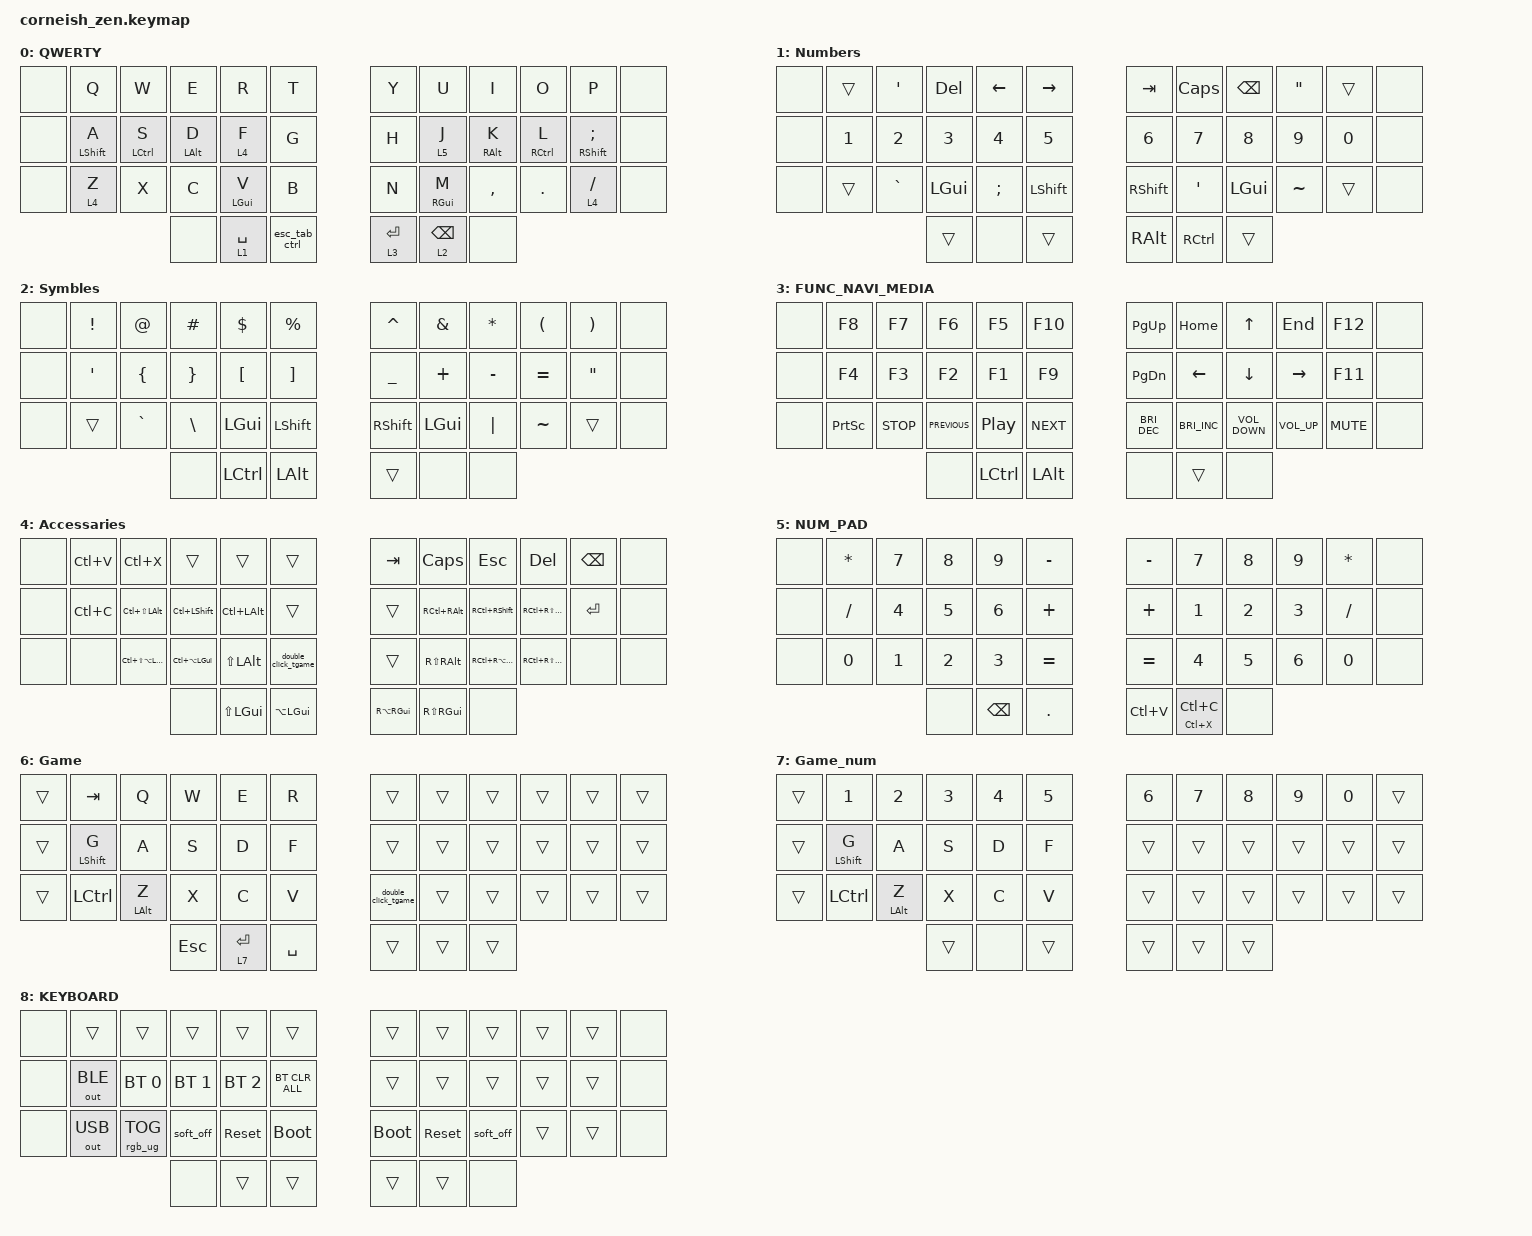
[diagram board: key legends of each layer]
/*
*
* Copyright (c) 2021 Darryl deHaan
* SPDX-License-Identifier: MIT
*
*/

#include <behaviors.dtsi>
#include <dt-bindings/zmk/bt.h>
#include <dt-bindings/zmk/keys.h>
#include <dt-bindings/zmk/outputs.h>
#include <dt-bindings/zmk/rgb.h>

&mt {
    tapping-term-ms = <250>;
    quick-tap-ms = <200>;
    flavor = "tap-preferred";
};

&lt {
    tapping-term-ms = <250>;
    quick-tap-ms = <175>;
};

/ {
    chosen {
        zmk,matrix_transform = &default_transform;

        // zmk,matrix_transform = &five_column_transform;
    };

    behaviors {
        ht: hold_tap {
            label = "hold_tap";
            compatible = "zmk,behavior-hold-tap";
            #binding-cells = <2>;
            flavor = "tap-preferred";
            tapping-term-ms = <220>;
            quick-tap-ms = <200>;
            global-quick-tap;
            bindings = <&kp>, <&kp>;
        };

        esc_tab_ctrl: esc_tab_ctrl {
            compatible = "zmk,behavior-tap-dance";
            label = "ESC_TAB_CTRL";
            #binding-cells = <0>;
            bindings = <&ht LCTRL ESCAPE>, <&kp TAB>;

            tapping-term-ms = <250>;
        };

        double_click_tgame: double_click_tgame {
            compatible = "zmk,behavior-tap-dance";
            label = "DOUBLE_CLICK_TGAME";
            #binding-cells = <0>;
            bindings = <&trans>, <&tog 6>;

            tapping-term-ms = <250>;
        };

        mmv {
            acceleration-exponent = <1>;      // 1
            time-to-max-speed-ms = <300>;    // 40
            delay-ms = <0>;                   // 0
        };

        msc {
            acceleration-exponent = <0>;      // 0
            time-to-max-speed-ms = <40>;      // 500
            delay-ms = <0>;                   // 10
        };
    };
};

/ {
    combos {
        compatible = "zmk,combos";

        MO5_right {
            bindings = <&mo 8>;
            key-positions = <40 39>;
        };

        MO5_left {
            bindings = <&mo 8>;
            key-positions = <37 38>;
        };
    };

    keymap {
        compatible = "zmk,keymap";

        base {
            display-name = "QWERTY";

            // --------------------------------------------------------------------------------
            // |  TAB |  Q  |  W  |  E  |  R  |  T  |   |  Y  |  U   |  I  |  O  |  P  | BKSP |
            // | CTRL |  A  |  S  |  D  |  F  |  G  |   |  H  |  J   |  K  |  L  |  ;  |  '   |
            // | SHFT |  Z  |  X  |  C  |  V  |  B  |   |  N  |  M   |  ,  |  .  |  /  | ESC  |
            //                    | GUI | LWR | SPC |   | ENT | RSE  | ALT |

            bindings = <
&none  &kp Q             &kp W        &kp E           &kp R           &kp T            &kp Y        &kp U            &kp I            &kp O        &kp P                      &none
&none  &ht LEFT_SHIFT A  &ht LCTRL S  &ht LEFT_ALT D  &lt 4 F         &kp G            &kp H        &lt 5 J          &ht RIGHT_ALT K  &ht RCTRL L  &ht RIGHT_SHIFT SEMICOLON  &none
&none  &lt 4 Z           &kp X        &kp C           &ht LEFT_GUI V  &kp B            &kp N        &ht RIGHT_GUI M  &kp COMMA        &kp DOT      &lt 4 SLASH                &none
                                      &none           &lt 1 SPACE     &esc_tab_ctrl    &lt 3 ENTER  &lt 2 BACKSPACE  &none
            >;
        };

        Numbers {
            bindings = <
&none  &trans  &kp SINGLE_QUOTE  &kp DELETE  &kp LEFT_ARROW  &kp RIGHT_ARROW    &kp TAB    &kp CAPS   &kp BSPC  &kp DOUBLE_QUOTES  &trans  &none
&none  &kp N1  &kp N2            &kp N3      &kp N4          &kp N5             &kp N6     &kp N7     &kp N8    &kp N9             &kp N0  &none
&none  &trans  &kp GRAVE         &kp LGUI    &kp SEMI        &kp LSHFT          &kp RSHFT  &kp APOS   &kp LGUI  &kp TILDE          &trans  &none
                                 &trans      &none           &trans             &kp RALT   &kp RCTRL  &trans
            >;
        };

        SYMB {
            display-name = "Symbles";

            // -----------------------------------------------------------------------------------------
            // |  TAB |  1  |  2  |  3  |  4  |  5  |   |  6  |  7  |  8  |  9  |  0  | BKSP |
            // | BTCLR| BT1 | BT2 | BT3 | BT4 | BT5 |   | LFT | DWN |  UP | RGT |     |      |
            // | SHFT |     |     |     |     |     |   |     |     |     |     |     |      |
            //                    | GUI |     | SPC |   | ENT |     | ALT |

            bindings = <
&none  &kp EXCLAMATION  &kp AT_SIGN     &kp HASH         &kp DOLLAR  &kp PERCENT    &kp CARET  &kp AMPERSAND  &kp STAR   &kp LEFT_PARENTHESIS  &kp RIGHT_PARENTHESIS  &none
&none  &kp APOS         &kp LEFT_BRACE  &kp RIGHT_BRACE  &kp LBKT    &kp RBKT       &kp UNDER  &kp PLUS       &kp MINUS  &kp EQUAL             &kp DOUBLE_QUOTES      &none
&none  &trans           &kp GRAVE       &kp BACKSLASH    &kp LGUI    &kp LSHFT      &kp RSHFT  &kp LGUI       &kp PIPE   &kp TILDE             &trans                 &none
                                        &none            &kp LCTRL   &kp LALT       &trans     &none          &none
            >;
        };

        fun_nav_media {
            display-name = "FUNC_NAVI_MEDIA";

            // -----------------------------------------------------------------------------------------
            // |  TAB |  !  |  @  |  #  |  $  |  %  |   |  ^  |  &  |  *  |  (  |  )  | BKSP |
            // | CTRL |     |     |     |     |     |   |  -  |  =  |  [  |  ]  |  \  |  `   |
            // | SHFT |     |     |     |     |     |   |  _  |  +  |  {  |  }  | "|" |  ~   |
            //                    | GUI |     | SPC |   | ENT |     | ALT |

            bindings = <
&none  &kp F8           &kp F7      &kp F6          &kp F5            &kp F10       &kp PAGE_UP           &kp HOME              &kp UP_ARROW       &kp END          &kp F12     &none
&none  &kp F4           &kp F3      &kp F2          &kp F1            &kp F9        &kp PAGE_DOWN         &kp LEFT_ARROW        &kp DOWN           &kp RIGHT_ARROW  &kp F11     &none
&none  &kp PRINTSCREEN  &kp C_STOP  &kp C_PREVIOUS  &kp C_PLAY_PAUSE  &kp C_NEXT    &kp C_BRIGHTNESS_DEC  &kp C_BRIGHTNESS_INC  &kp C_VOLUME_DOWN  &kp C_VOLUME_UP  &kp C_MUTE  &none
                                    &none           &kp LCTRL         &kp LALT      &none                 &trans                &none
            >;
        };

        Accessaries {
            bindings = <
&none  &kp LC(V)  &kp LC(X)                 &trans                &trans            &trans                 &kp TAB            &kp CAPS           &kp ESCAPE            &kp DEL                   &kp BACKSPACE  &none
&none  &kp LC(C)  &kp LC(LS(LEFT_ALT))      &kp LC(LEFT_SHIFT)    &kp LC(LEFT_ALT)  &trans                 &trans             &kp RC(RIGHT_ALT)  &kp RC(RIGHT_SHIFT)   &kp RC(RS(RIGHT_ALT))     &kp ENTER      &none
&none  &none      &kp LC(LS(LA(LEFT_GUI)))  &kp LC(LA(LEFT_GUI))  &kp LS(LEFT_ALT)  &double_click_tgame    &trans             &kp RS(RIGHT_ALT)  &kp RC(RA(LEFT_GUI))  &kp RC(RS(RA(LEFT_GUI)))  &none          &none
                                            &none                 &kp LS(LEFT_GUI)  &kp LA(LEFT_GUI)       &kp RA(RIGHT_GUI)  &kp RS(RIGHT_GUI)  &none
            >;
        };

        NUM_PAD {
            bindings = <
&none  &kp STAR   &kp N7        &kp N8        &kp N9         &kp MINUS    &kp MINUS  &kp N7           &kp N8  &kp N9  &kp STAR   &none
&none  &kp SLASH  &kp NUMBER_4  &kp N5        &kp NUMBER_6   &kp PLUS     &kp PLUS   &kp NUMBER_1     &kp N2  &kp N3  &kp SLASH  &none
&none  &kp N0     &kp NUMBER_1  &kp NUMBER_2  &kp NUMBER_3   &kp EQUAL    &kp EQUAL  &kp N4           &kp N5  &kp N6  &kp N0     &none
                                &none         &kp BACKSPACE  &kp DOT      &kp LC(V)  &ht LC(X) LC(C)  &none
            >;
        };

        Game {
            bindings = <
&trans  &kp TAB       &kp Q           &kp W    &kp E        &kp R        &trans               &trans  &trans  &trans  &trans  &trans
&trans  &ht LSHIFT G  &kp A           &kp S    &kp D        &kp F        &trans               &trans  &trans  &trans  &trans  &trans
&trans  &kp LCTRL     &ht LEFT_ALT Z  &kp X    &kp C        &kp V        &double_click_tgame  &trans  &trans  &trans  &trans  &trans
                                      &kp ESC  &lt 7 ENTER  &kp SPACE    &trans               &trans  &trans
            >;
        };

        Game_num {
            bindings = <
&trans  &kp N1       &kp N2      &kp N3  &kp N4  &kp N5    &kp N6  &kp N7  &kp N8  &kp N9  &kp N0  &trans
&trans  &ht LSHFT G  &kp A       &kp S   &kp D   &kp F     &trans  &trans  &trans  &trans  &trans  &trans
&trans  &kp LCTRL    &ht LALT Z  &kp X   &kp C   &kp V     &trans  &trans  &trans  &trans  &trans  &trans
                                 &trans  &none   &trans    &trans  &trans  &trans
            >;
        };

        KEYBOARD {
            bindings = <
&none  &trans        &trans           &trans        &trans        &trans            &trans       &trans      &trans     &trans  &trans  &none
&none  &out OUT_BLE  &bt BT_SEL 0     &bt BT_SEL 1  &bt BT_SEL 2  &bt BT_CLR_ALL    &trans       &trans      &trans     &trans  &trans  &none
&none  &out OUT_USB  &rgb_ug RGB_TOG  &soft_off     &sys_reset    &bootloader       &bootloader  &sys_reset  &soft_off  &trans  &trans  &none
                                      &none         &trans        &trans            &trans       &trans      &none
            >;
        };
    };
};
